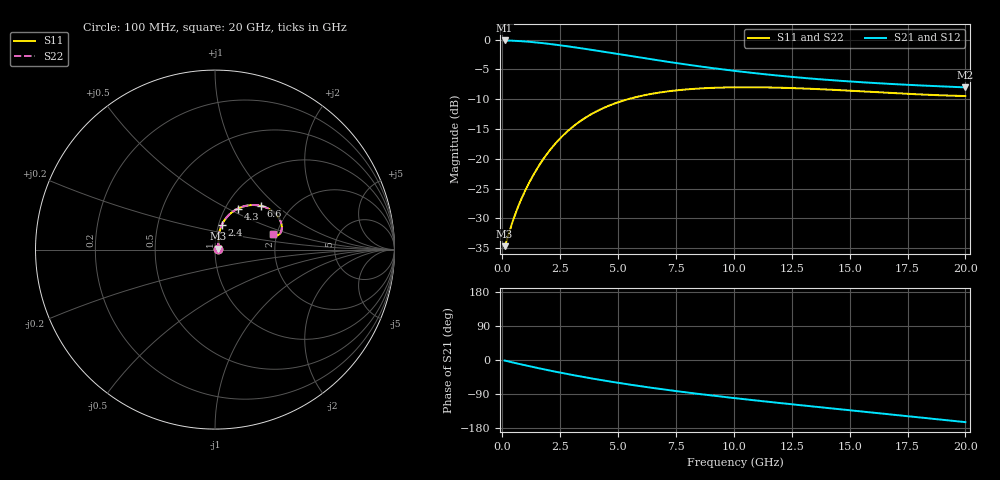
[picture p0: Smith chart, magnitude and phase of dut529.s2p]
! Touchstone file exported from HFSS 2024.1.0
!  File:  C:/UserFiles/LocalFiles/RDL_TSV_Batchsim/temp_RDL_TSV_529_1779744334.aedt
!  Generated:  05:41:00 AM May 26, 2026
!  Design:  RDL_TSV
!  Project:  temp_RDL_TSV_529_1779744334
!  Setup:  Setup1
!  Solution:  Sweep
! Variables:
!  dtsv = 6.89um
!  hbump = 3um
!  htsv = 62.24um
!  ldown = 253.46um
!  lrdl = 401.06um
!  p = 40
!  p1 = 57.83um
!  rhole = 10um
!  subl = 2364.62um
!  t = 450um
!  tdown = 4.37um
!  trdl = 2.04um
!  viad = 10um
!  wdown = 13.29um
!  wrdl = 23.46um
!  xbump = 18um
# GHz S MA R 50.000000
! Terminal data exported
! Port[1] = TM1_1_T1
! Port[2] = TM1_4_T1
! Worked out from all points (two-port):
!   200 points, 100 MHz to 20 GHz, reference 50 ohm
!   highest |S21| = -0.16 dB at 100 MHz (marker M1); lowest = -8.0 dB at 20 GHz (marker M2)
!   |S21| within 3 dB of the highest: start of sweep to 6.18 GHz
!   lowest |S11| = -34.7 dB at 100 MHz (marker M3), VSWR 1.04, Z = 51.8 + j0.555 ohm
!   |S11| at or under -10 dB: start of sweep to 5.441 GHz
!   |S22| runs from -34.7 to -8.0 dB; largest |S21 - S12| = 1.4e-14
!   S11 on the Smith chart (normalised r, x): 100 MHz: 1.04, +0.01; 2.4 GHz: 1.04, +0.29; 4.3 GHz: 1.15, +0.56; 6.6 GHz: 1.43, +0.80; 20 GHz: 1.91, +0.38
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0.1  0.01847 16.8  0.9821 -1.5  0.9821 -1.5  0.01847 16.8
! Gamma 0 0 0 0
! Port Impedance 50 0 50 0
0.6  0.03596 57.8  0.974 -8.6  0.974 -8.6  0.03596 57.8
0.8  0.04484 64.4  0.9688 -11.4  0.9688 -11.4  0.04484 64.4
1.1  0.0597 70.7  0.9592 -15.5  0.9592 -15.5  0.0597 70.7
1.4  0.07643 74.1  0.9478 -19.5  0.9478 -19.5  0.07644 74.1
1.7  0.09478 75.7  0.9347 -23.4  0.9347 -23.4  0.09478 75.7
2  0.1143 75.8  0.9204 -27.2  0.9204 -27.2  0.1143 75.8
2.4  0.1414 74.6  0.9 -32.1  0.9 -32.1  0.1415 74.7
2.9  0.1757 71.8  0.8729 -38.0  0.8729 -38.0  0.1757 71.8
3.5  0.2152 67.3  0.8394 -44.8  0.8394 -44.8  0.2153 67.3
4.3  0.2625 60.7  0.7944 -53.2  0.7944 -53.2  0.2626 60.7
5.4  0.3146 51.9  0.7348 -64.0  0.7348 -64.0  0.3147 51.9
6.6  0.3544 43.3  0.6752 -74.6  0.6752 -74.6  0.3545 43.3
6.8  0.3595 42.0  0.666 -76.3  0.666 -76.3  0.3596 42.0
8.4  0.3872 32.9  0.5998 -88.9  0.5998 -88.9  0.3873 32.9
10.1  0.3975 25.3  0.5438 -101.0  0.5438 -101.0  0.3976 25.4
11.7  0.3954 20.0  0.5028 -111.7  0.5028 -111.7  0.3956 20.1
13.4  0.3856 16.1  0.4693 -122.6  0.4693 -122.6  0.3858 16.1
15  0.3724 13.8  0.4449 -132.6  0.4449 -132.6  0.3725 13.8
16.7  0.3571 12.9  0.4248 -143.1  0.4248 -143.1  0.3573 12.9
18.4  0.3437 13.5  0.409 -153.8  0.409 -153.8  0.3439 13.5
20  0.3357 15.2  0.3967 -164.0  0.3967 -164.0  0.3359 15.2
